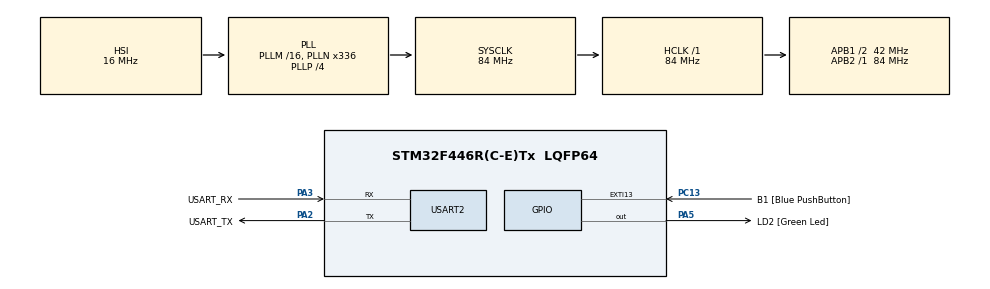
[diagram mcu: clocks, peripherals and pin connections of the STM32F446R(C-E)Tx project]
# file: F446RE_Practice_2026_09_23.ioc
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Mcu.Family=STM32F4
Mcu.Name=STM32F446R(C-E)Tx
Mcu.Package=LQFP64
NVIC.PriorityGroup=NVIC_PRIORITYGROUP_0
PA13.GPIO_Label=TMS
PA13.Mode=Serial_Wire
PA13.Signal=SYS_JTMS-SWDIO
PA14.GPIO_Label=TCK
PA14.Mode=Serial_Wire
PA14.Signal=SYS_JTCK-SWCLK
PA2.GPIO_Label=USART_TX
PA2.Mode=Asynchronous
PA2.Signal=USART2_TX
PA3.GPIO_Label=USART_RX
PA3.Mode=Asynchronous
PA3.Signal=USART2_RX
PA5.GPIO_Label=LD2 [Green Led]
PA5.Signal=GPIO_Output
PB3.GPIO_Label=SWO
PB3.Signal=SYS_JTDO-SWO
PC13.GPIO_Label=B1 [Blue PushButton]
PC13.GPIO_ModeDefaultEXTI=GPIO_MODE_IT_FALLING
PC13.Signal=GPXTI13
PC14-OSC32_IN.Mode=LSE-External-Oscillator
PC14-OSC32_IN.Signal=RCC_OSC32_IN
PC15-OSC32_OUT.Mode=LSE-External-Oscillator
PC15-OSC32_OUT.Signal=RCC_OSC32_OUT
PH0-OSC_IN.Mode=HSE-External-Oscillator
PH0-OSC_IN.Signal=RCC_OSC_IN
PH1-OSC_OUT.Mode=HSE-External-Oscillator
PH1-OSC_OUT.Signal=RCC_OSC_OUT
ProjectManager.HeapSize=0x200
ProjectManager.StackSize=0x400
ProjectManager.TargetToolchain=STM32CubeIDE
RCC.48MHZClocksFreq_Value=84000000
RCC.AHBFreq_Value=84000000
RCC.APB1CLKDivider=RCC_HCLK_DIV2
RCC.APB1Freq_Value=42000000
RCC.APB1TimFreq_Value=84000000
RCC.APB2Freq_Value=84000000
RCC.APB2TimFreq_Value=84000000
RCC.CortexFreq_Value=84000000
RCC.FLatency-AdvancedSettings=FLASH_LATENCY_2
RCC.HCLKFreq_Value=84000000
RCC.HSE_VALUE=8000000
RCC.HSI_VALUE=16000000
RCC.PLLN=336
RCC.PLLP=RCC_PLLP_DIV4
RCC.SYSCLKFreq_VALUE=84000000
RCC.SYSCLKSource=RCC_SYSCLKSOURCE_PLLCLK
RCC.USBFreq_Value=168000000
RCC.VCOOutputFreq_Value=336000000
USART2.VirtualMode=VM_ASYNC
board=NUCLEO-F446RE

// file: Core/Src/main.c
/* USER CODE BEGIN Header */
/**
  ******************************************************************************
  * @file           : main.c
  * @brief          : Main program body
  ******************************************************************************
  * @attention
  *
  * Copyright (c) 2026 STMicroelectronics.
  * All rights reserved.
  *
  * This software is licensed under terms that can be found in the LICENSE file
  * in the root directory of this software component.
  * If no LICENSE file comes with this software, it is provided AS-IS.
  *
  ******************************************************************************
  */
/* USER CODE END Header */
#include "main.h"

/* USER CODE BEGIN Includes */

#include <stdio.h>

/* USER CODE END Includes */

UART_HandleTypeDef huart2;

void SystemClock_Config(void);
static void MX_GPIO_Init(void);
static void MX_USART2_UART_Init(void);

int main(void)
{

  /* MCU Configuration--------------------------------------------------------*/

  /* Reset of all peripherals, Initializes the Flash interface and the Systick. */
  HAL_Init();

  /* Configure the system clock */
  SystemClock_Config();

  /* Initialize all configured peripherals */
  MX_GPIO_Init();
  MX_USART2_UART_Init();
  /* USER CODE BEGIN 2 */

  static const uint8_t banner[] = "\r\nF446 UART READY\r\n";

  HAL_UART_Transmit(&huart2,
                    (uint8_t *)banner,
                    sizeof(banner) - 1U,
                    100U);

  /* USER CODE END 2 */

  /* Infinite loop */
  /* USER CODE BEGIN WHILE */
  while (1)
  {

	  uint8_t rx;
	      char tx[40];
	      int len;

	      if (HAL_UART_Receive(&huart2, &rx, 1U, HAL_MAX_DELAY) == HAL_OK)
	      {
	          char shown = ((rx >= 32U) && (rx <= 126U)) ? (char)rx : '.';

	          len = snprintf(tx,
	                         sizeof(tx),
	                         "RX=0x%02X '%c'\r\n",
	                         (unsigned int)rx,
	                         shown);

	          if ((len > 0) && ((size_t)len < sizeof(tx)))
	          {
	              HAL_UART_Transmit(&huart2,
	                                (uint8_t *)tx,
	                                (uint16_t)len,
	                                100U);
	          }
	      }

	  /* USER CODE END WHILE */

  }
}

void SystemClock_Config(void)
{
  RCC_OscInitTypeDef RCC_OscInitStruct = {0};
  RCC_ClkInitTypeDef RCC_ClkInitStruct = {0};

  /** Configure the main internal regulator output voltage
  */
  __HAL_RCC_PWR_CLK_ENABLE();
  __HAL_PWR_VOLTAGESCALING_CONFIG(PWR_REGULATOR_VOLTAGE_SCALE3);

  /** Initializes the RCC Oscillators according to the specified parameters
  * in the RCC_OscInitTypeDef structure.
  */
  RCC_OscInitStruct.OscillatorType = RCC_OSCILLATORTYPE_HSI;
  RCC_OscInitStruct.HSIState = RCC_HSI_ON;
  RCC_OscInitStruct.HSICalibrationValue = RCC_HSICALIBRATION_DEFAULT;
  RCC_OscInitStruct.PLL.PLLState = RCC_PLL_ON;
  RCC_OscInitStruct.PLL.PLLSource = RCC_PLLSOURCE_HSI;
  RCC_OscInitStruct.PLL.PLLM = 16;
  RCC_OscInitStruct.PLL.PLLN = 336;
  RCC_OscInitStruct.PLL.PLLP = RCC_PLLP_DIV4;
  RCC_OscInitStruct.PLL.PLLQ = 2;
  RCC_OscInitStruct.PLL.PLLR = 2;
  if (HAL_RCC_OscConfig(&RCC_OscInitStruct) != HAL_OK)
  {
    Error_Handler();
  }

  /** Initializes the CPU, AHB and APB buses clocks
  */
  RCC_ClkInitStruct.ClockType = RCC_CLOCKTYPE_HCLK|RCC_CLOCKTYPE_SYSCLK
                              |RCC_CLOCKTYPE_PCLK1|RCC_CLOCKTYPE_PCLK2;
  RCC_ClkInitStruct.SYSCLKSource = RCC_SYSCLKSOURCE_PLLCLK;
  RCC_ClkInitStruct.AHBCLKDivider = RCC_SYSCLK_DIV1;
  RCC_ClkInitStruct.APB1CLKDivider = RCC_HCLK_DIV2;
  RCC_ClkInitStruct.APB2CLKDivider = RCC_HCLK_DIV1;

  if (HAL_RCC_ClockConfig(&RCC_ClkInitStruct, FLASH_LATENCY_2) != HAL_OK)
  {
    Error_Handler();
  }
}

static void MX_USART2_UART_Init(void)
{

  huart2.Instance = USART2;
  huart2.Init.BaudRate = 115200;
  huart2.Init.WordLength = UART_WORDLENGTH_8B;
  huart2.Init.StopBits = UART_STOPBITS_1;
  huart2.Init.Parity = UART_PARITY_NONE;
  huart2.Init.Mode = UART_MODE_TX_RX;
  huart2.Init.HwFlowCtl = UART_HWCONTROL_NONE;
  huart2.Init.OverSampling = UART_OVERSAMPLING_16;
  if (HAL_UART_Init(&huart2) != HAL_OK)
  {
    Error_Handler();
  }

}

static void MX_GPIO_Init(void)
{
  GPIO_InitTypeDef GPIO_InitStruct = {0};

  /* GPIO Ports Clock Enable */
  __HAL_RCC_GPIOC_CLK_ENABLE();
  __HAL_RCC_GPIOH_CLK_ENABLE();
  __HAL_RCC_GPIOA_CLK_ENABLE();
  __HAL_RCC_GPIOB_CLK_ENABLE();

  /*Configure GPIO pin Output Level */
  HAL_GPIO_WritePin(LD2_GPIO_Port, LD2_Pin, GPIO_PIN_RESET);

  /*Configure GPIO pin : B1_Pin */
  GPIO_InitStruct.Pin = B1_Pin;
  GPIO_InitStruct.Mode = GPIO_MODE_IT_FALLING;
  GPIO_InitStruct.Pull = GPIO_NOPULL;
  HAL_GPIO_Init(B1_GPIO_Port, &GPIO_InitStruct);

  /*Configure GPIO pin : LD2_Pin */
  GPIO_InitStruct.Pin = LD2_Pin;
  GPIO_InitStruct.Mode = GPIO_MODE_OUTPUT_PP;
  GPIO_InitStruct.Pull = GPIO_NOPULL;
  GPIO_InitStruct.Speed = GPIO_SPEED_FREQ_LOW;
  HAL_GPIO_Init(LD2_GPIO_Port, &GPIO_InitStruct);

}

void Error_Handler(void)
{
  __disable_irq();
  while (1)
  {
  }
}
